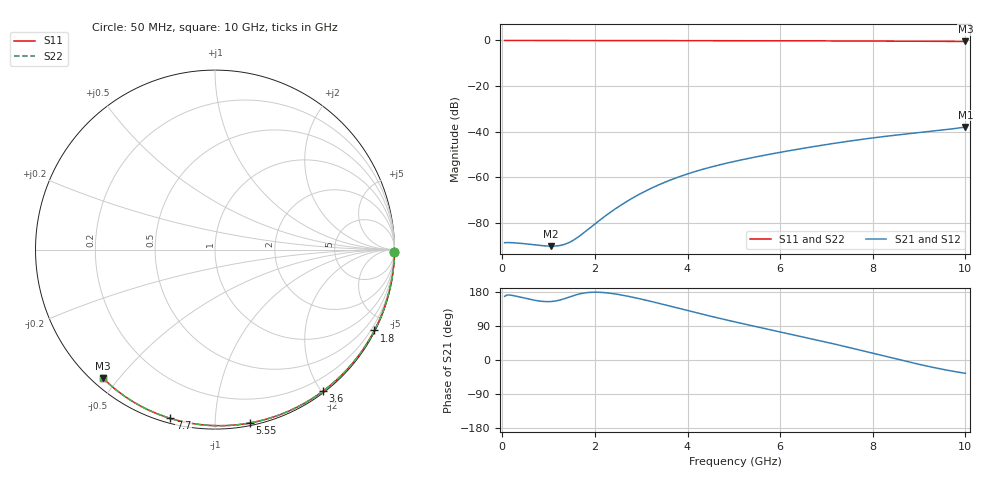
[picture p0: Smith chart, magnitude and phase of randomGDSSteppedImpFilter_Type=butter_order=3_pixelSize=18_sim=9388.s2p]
! freq	dB(S11)	phase(S11)	dB(S12)	phase(S12)
!  dB(S21)	phase(S21)	dB(S22)	phase(S22)
!S-par simulation data
#  GHz  S  DB  R 50
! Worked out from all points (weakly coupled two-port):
!   200 points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, 50 MHz to 10 GHz, reference 50 ohm
!   highest |S21| = -38.06 dB at 10 GHz (marker M1); lowest = -90.4 dB at 1.05 GHz (marker M2)
!   lowest |S11| = -0.5 dB at 10 GHz (marker M3), VSWR 38.39, Z = 1.57 - j22.7 ohm
!   |S11| at or under -10 dB: nowhere
!   |S22| runs from -0.5 to 0.0 dB; largest |S21 - S12| = 0
!   S11 on the Smith chart (normalised r, x): 50 MHz: open; 1.8 GHz: 0.04, -4.18; 3.6 GHz: 0.02, -2.02; 5.55 GHz: 0.02, -1.22; 7.7 GHz: 0.02, -0.77; 10 GHz: 0.03, -0.45
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0.05  -0.00 -0.8  -88.87 168.1  -88.87 168.1  -0.00 -0.8
0.55  -0.01 -8.3  -89.44 161.4  -89.44 161.4  -0.01 -8.3
1.05  -0.02 -15.8  -90.37 154.2  -90.37 154.2  -0.02 -15.8
1.75  -0.03 -26.1  -84.66 176.5  -84.66 176.5  -0.03 -26.2
1.8  -0.03 -26.9  -83.85 177.4  -83.85 177.4  -0.03 -26.9
2  -0.04 -29.8  -80.62 179.0  -80.62 179.0  -0.04 -29.8
2.05  -0.04 -30.5  -79.81 178.9  -79.81 178.9  -0.04 -30.5
2.45  -0.05 -36.3  -73.83 174.0  -73.83 174.0  -0.05 -36.3
2.75  -0.05 -40.6  -69.96 167.3  -69.96 167.3  -0.05 -40.6
3.05  -0.06 -44.9  -66.60 159.3  -66.60 159.3  -0.06 -44.9
3.4  -0.07 -49.8  -63.23 149.0  -63.23 149.0  -0.07 -49.8
3.6  -0.07 -52.6  -61.55 142.9  -61.55 142.9  -0.07 -52.6
3.9  -0.08 -56.7  -59.31 133.7  -59.31 133.7  -0.08 -56.7
4.25  -0.09 -61.5  -57.06 123.0  -57.06 123.0  -0.09 -61.5
5.05  -0.11 -72.1  -52.96 99.8  -52.96 99.8  -0.11 -72.1
5.55  -0.13 -78.5  -50.86 86.2  -50.86 86.2  -0.13 -78.5
6.1  -0.15 -85.5  -48.78 71.5  -48.78 71.5  -0.15 -85.5
6.7  -0.18 -92.9  -46.70 55.3  -46.70 55.3  -0.18 -92.9
7.7  -0.24 -104.9  -43.62 26.8  -43.62 26.8  -0.24 -104.9
8.35  -0.29 -112.4  -41.94 7.3  -41.94 7.3  -0.29 -112.4
9.15  -0.36 -121.6  -40.15 -15.5  -40.15 -15.5  -0.36 -121.6
10  -0.45 -131.2  -38.06 -35.1  -38.06 -35.1  -0.45 -131.2
